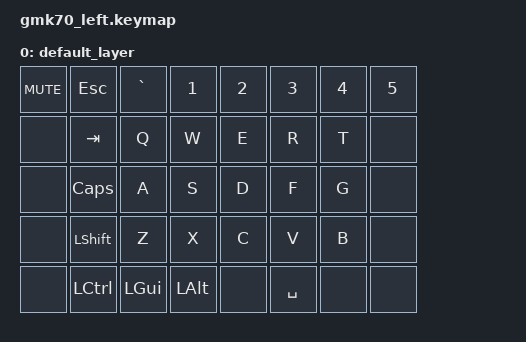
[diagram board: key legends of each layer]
/* SPDX-License-Identifier: MIT */
#include <behaviors.dtsi>
#include <dt-bindings/zmk/keys.h>
/ {
    keymap {
        compatible = "zmk,keymap";
        default_layer {
            bindings = <
                &kp C_MUTE &kp ESC &kp GRAVE &kp N1 &kp N2 &kp N3 &kp N4 &kp N5
                &none &kp TAB &kp Q &kp W &kp E &kp R &kp T &none
                &none &kp CAPS &kp A &kp S &kp D &kp F &kp G &none
                &none &kp LSHIFT &kp Z &kp X &kp C &kp V &kp B &none
                &none &kp LCTRL &kp LGUI &kp LALT &none &kp SPACE &none &none
            >;
        };
    };
};
